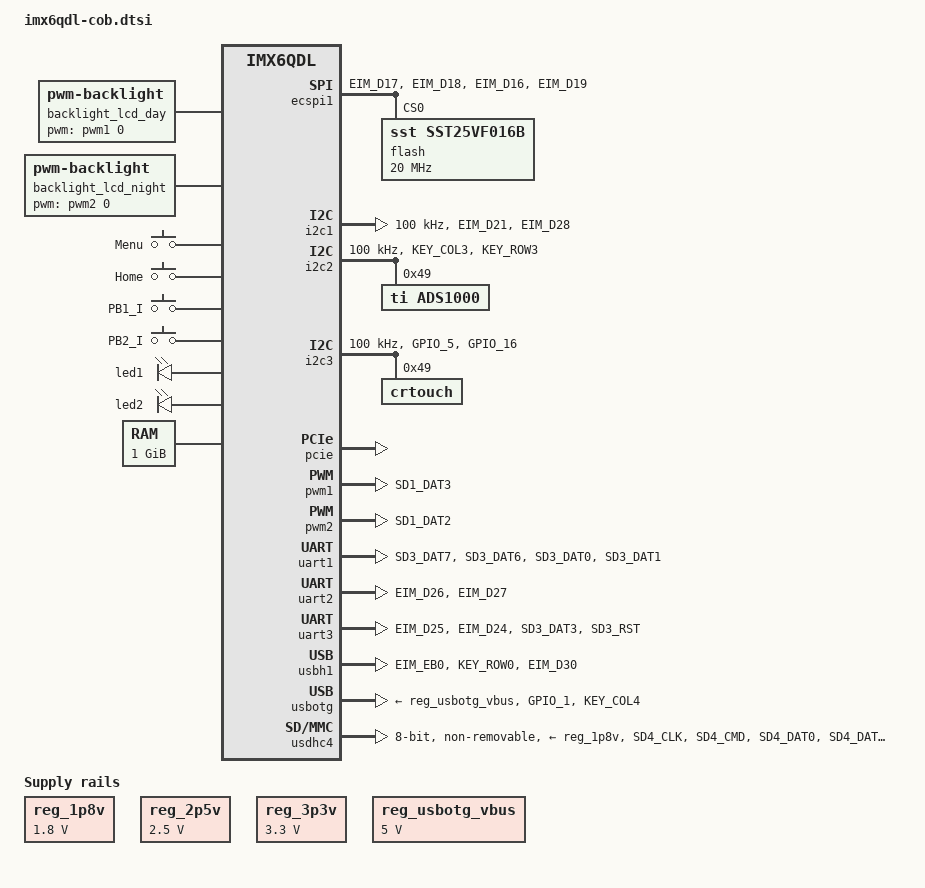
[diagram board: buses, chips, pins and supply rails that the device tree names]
/*
 * Copyright 2015 Boundary Devices
 *
 * The code contained herein is licensed under the GNU General Public
 * License. You may obtain a copy of the GNU General Public License
 * Version 2 or later at the following locations:
 *
 * http://www.opensource.org/licenses/gpl-license.html
 * http://www.gnu.org/copyleft/gpl.html
 */
#include <dt-bindings/gpio/gpio.h>
#include <dt-bindings/input/input.h>

&iomuxc {
	pinctrl-names = "default";
	pinctrl-0 = <&pinctrl_hog>;

        iomuxc_imx6q_cob: iomuxc-imx6q-cobgrp {
                status = "okay";
        };
};

&iomuxc_imx6q_cob {
	pinctrl_ecspi1: ecspi1grp {
		fsl,pins = <
			MX6QDL_PAD_EIM_D17__ECSPI1_MISO		0x100b1
			MX6QDL_PAD_EIM_D18__ECSPI1_MOSI		0x100b1
			MX6QDL_PAD_EIM_D16__ECSPI1_SCLK		0x100b1
#define GP_ECSPI1_NOR_CS	<&gpio3 19 GPIO_ACTIVE_LOW>
			MX6QDL_PAD_EIM_D19__GPIO3_IO19		0x000b1
		>;
	};

	pinctrl_gpio_keys: gpio-keysgrp {
		fsl,pins = <
#define GP_GPIOKEYS_MENU	<&gpio1 0 GPIO_ACTIVE_LOW>
			MX6QDL_PAD_GPIO_0__GPIO1_IO00		0x1b0b0
#define GP_GPIOKEYS_HOME	<&gpio1 2 GPIO_ACTIVE_LOW>
			MX6QDL_PAD_GPIO_2__GPIO1_IO02		0x1b0b0
#define GP_GPIOKEYS_PB1_I	<&gpio1 8 GPIO_ACTIVE_LOW>
			MX6QDL_PAD_GPIO_8__GPIO1_IO08		0x1b0b0
#define GP_GPIOKEYS_PB2_I	<&gpio7 12 GPIO_ACTIVE_LOW>
			MX6QDL_PAD_GPIO_17__GPIO7_IO12		0x1b0b0
		>;
	};

	pinctrl_gpio_leds: gpio-ledsgrp {
		fsl,pins = <
#define GP_GPIOLEDS_1		<&gpio2 19 GPIO_ACTIVE_LOW>
			MX6QDL_PAD_EIM_A19__GPIO2_IO19		0x0b0b0
#define GP_GPIOLEDS_2		<&gpio2 18 GPIO_ACTIVE_LOW>
			MX6QDL_PAD_EIM_A20__GPIO2_IO18		0x0b0b0
		>;
	};

	pinctrl_hog: hoggrp {
		fsl,pins = <
#define GP_HEATER_EN	<&gpio4 10 GPIO_ACTIVE_LOW>
			MX6QDL_PAD_KEY_COL2__GPIO4_IO10		0x0b0b0
#define GP_LCD_DAY_BACKLIGHT_EN	<&gpio4 15 GPIO_ACTIVE_LOW>
			MX6QDL_PAD_KEY_ROW4__GPIO4_IO15		0x0b0b0
#define GP_LCD_NIGHT_BACKLIGHT_EN <&gpio4 11 GPIO_ACTIVE_LOW>
			MX6QDL_PAD_KEY_ROW2__GPIO4_IO11		0x0b0b0

#define GP_TX		<&gpio2 30 GPIO_ACTIVE_LOW>
			MX6QDL_PAD_EIM_EB2__GPIO2_IO30		0x1b0b0
#define GP_RX		<&gpio2 31 GPIO_ACTIVE_LOW>
			MX6QDL_PAD_EIM_EB3__GPIO2_IO31		0x1b0b0

#define GP_HEATER_FAULT	<&gpio5 0 GPIO_ACTIVE_LOW>
			MX6QDL_PAD_EIM_WAIT__GPIO5_IO00		0x1b0b0

#define GP_DA1_OUTA	<&gpio3 0 GPIO_ACTIVE_LOW>
			MX6QDL_PAD_EIM_DA0__GPIO3_IO00		0x1b0b0
#define GP_DA1_OUTB	<&gpio3 1 GPIO_ACTIVE_LOW>
			MX6QDL_PAD_EIM_DA1__GPIO3_IO01		0x1b0b0
#define GP_DB1_OUTA	<&gpio3 2 GPIO_ACTIVE_LOW>
			MX6QDL_PAD_EIM_DA2__GPIO3_IO02		0x1b0b0
#define GP_DB1_OUTB	<&gpio3 3 GPIO_ACTIVE_LOW>
			MX6QDL_PAD_EIM_DA3__GPIO3_IO03		0x1b0b0
#define GP_DA2_OUTA	<&gpio3 4 GPIO_ACTIVE_LOW>
			MX6QDL_PAD_EIM_DA4__GPIO3_IO04		0x1b0b0
#define GP_DA2_OUTB	<&gpio3 5 GPIO_ACTIVE_LOW>
			MX6QDL_PAD_EIM_DA5__GPIO3_IO05		0x1b0b0
#define GP_DB2_OUTA	<&gpio3 6 GPIO_ACTIVE_LOW>
			MX6QDL_PAD_EIM_DA6__GPIO3_IO06		0x1b0b0
#define GP_DB2_OUTB	<&gpio3 7 GPIO_ACTIVE_LOW>
			MX6QDL_PAD_EIM_DA7__GPIO3_IO07		0x1b0b0

#define GP_HOG_TP5	<&gpio4 8 GPIO_ACTIVE_LOW>
			MX6QDL_PAD_KEY_COL1__GPIO4_IO08		0x1b0b0
#define GP_HOG_TP6	<&gpio4 9 GPIO_ACTIVE_LOW>
			MX6QDL_PAD_KEY_ROW1__GPIO4_IO09		0x1b0b0
#define GP_HOG_TP71	<&gpio1 30 GPIO_ACTIVE_LOW>
			MX6QDL_PAD_ENET_TXD0__GPIO1_IO30	0x1b0b0
#define GP_HOG_TP72	<&gpio4 6 GPIO_ACTIVE_LOW>
			MX6QDL_PAD_KEY_COL0__GPIO4_IO06		0x1b0b0
#define GP_HOG_TP74	<&gpio2 7 GPIO_ACTIVE_LOW>
			MX6QDL_PAD_NANDF_D7__GPIO2_IO07		0x130b0
#define GP_HOG_TP75	<&gpio1 11 GPIO_ACTIVE_LOW>
			MX6QDL_PAD_SD2_CMD__GPIO1_IO11		0x1b0b0
#define GP_HOG_TP76	<&gpio1 10 GPIO_ACTIVE_LOW>
			MX6QDL_PAD_SD2_CLK__GPIO1_IO10		0x1b0b0
#define GP_HOG_TP78	<&gpio1 7 GPIO_ACTIVE_LOW>
			MX6QDL_PAD_GPIO_7__GPIO1_IO07		0x1b0b0
#define GP_HOG_TP79	<&gpio1 4 GPIO_ACTIVE_LOW>
			MX6QDL_PAD_GPIO_4__GPIO1_IO04		0x1b0b0
		>;
	};

	pinctrl_i2c1: i2c1grp {
		fsl,pins = <
			MX6QDL_PAD_EIM_D21__I2C1_SCL		0x4001b8b1
			MX6QDL_PAD_EIM_D28__I2C1_SDA		0x4001b8b1
		>;
	};

	pinctrl_i2c1_1: i2c1_1grp {
		fsl,pins = <
#define GP_I2C1_SCL	<&gpio3 21 GPIO_ACTIVE_HIGH>
			MX6QDL_PAD_EIM_D21__GPIO3_IO21		0x4001b8b1
#define GP_I2C1_SDA	<&gpio3 28 GPIO_ACTIVE_HIGH>
			MX6QDL_PAD_EIM_D28__GPIO3_IO28		0x4001b8b1
		>;
	};

	pinctrl_i2c2: i2c2grp {
		fsl,pins = <
			MX6QDL_PAD_KEY_COL3__I2C2_SCL		0x4001b8b1
			MX6QDL_PAD_KEY_ROW3__I2C2_SDA		0x4001b8b1
		>;
	};

	pinctrl_i2c2_1: i2c2_1grp {
		fsl,pins = <
#define GP_I2C2_SCL	<&gpio4 12 GPIO_ACTIVE_HIGH>
			MX6QDL_PAD_KEY_COL3__GPIO4_IO12		0x4001b8b1
#define GP_I2C2_SDA	<&gpio4 13 GPIO_ACTIVE_HIGH>
			MX6QDL_PAD_KEY_ROW3__GPIO4_IO13		0x4001b8b1
		>;
	};

	pinctrl_i2c3: i2c3grp {
		fsl,pins = <
			MX6QDL_PAD_GPIO_5__I2C3_SCL		0x4001b8b1
			MX6QDL_PAD_GPIO_16__I2C3_SDA		0x4001b8b1
		>;
	};

	pinctrl_i2c3_1: i2c3_1grp {
		fsl,pins = <
#define GP_I2C3_SCL	<&gpio1 5 GPIO_ACTIVE_HIGH>
			MX6QDL_PAD_GPIO_5__GPIO1_IO05		0x4001b8b1
#define GP_I2C3_SDA	<&gpio7 11 GPIO_ACTIVE_HIGH>
			MX6QDL_PAD_GPIO_16__GPIO7_IO11		0x4001b8b1
		>;
	};

	pinctrl_i2c3_crtouch: i2c3-crtouchgrp {
		fsl,pins = <
#define GPIRQ_I2C3_CRTOUCH	<&gpio1 9 IRQ_TYPE_EDGE_FALLING>
#define GP_I2C3_CRTOUCH		<&gpio1 9 GPIO_ACTIVE_LOW>
			MX6QDL_PAD_GPIO_9__GPIO1_IO09		0x1b0b0

#define GP_I2C3_CRTOUCH_WAKE	<&gpio2 27 GPIO_ACTIVE_LOW>
			MX6QDL_PAD_EIM_LBA__GPIO2_IO27		0x1b0b0
#define GP_I2C3_CRTOUCH_RESET	<&gpio2 26 GPIO_ACTIVE_LOW>
			MX6QDL_PAD_EIM_RW__GPIO2_IO26		0x130b0

		>;
	};

	pinctrl_lcd0: lcd0grp {
		fsl,pins = <
			MX6QDL_PAD_DI0_DISP_CLK__IPU1_DI0_DISP_CLK	0x10
			MX6QDL_PAD_DI0_PIN2__IPU1_DI0_PIN02		0x10
			MX6QDL_PAD_DI0_PIN3__IPU1_DI0_PIN03		0x10
			MX6QDL_PAD_DI0_PIN15__IPU1_DI0_PIN15		0x10
			MX6QDL_PAD_DISP0_DAT0__IPU1_DISP0_DATA00	0x10
			MX6QDL_PAD_DISP0_DAT1__IPU1_DISP0_DATA01	0x10
			MX6QDL_PAD_DISP0_DAT2__IPU1_DISP0_DATA02	0x10
			MX6QDL_PAD_DISP0_DAT3__IPU1_DISP0_DATA03	0x10
			MX6QDL_PAD_DISP0_DAT4__IPU1_DISP0_DATA04	0x10
			MX6QDL_PAD_DISP0_DAT5__IPU1_DISP0_DATA05	0x10
			MX6QDL_PAD_DISP0_DAT6__IPU1_DISP0_DATA06	0x10
			MX6QDL_PAD_DISP0_DAT7__IPU1_DISP0_DATA07	0x10
			MX6QDL_PAD_DISP0_DAT8__IPU1_DISP0_DATA08	0x10
			MX6QDL_PAD_DISP0_DAT9__IPU1_DISP0_DATA09	0x10
			MX6QDL_PAD_DISP0_DAT10__IPU1_DISP0_DATA10	0x10
			MX6QDL_PAD_DISP0_DAT11__IPU1_DISP0_DATA11	0x10
			MX6QDL_PAD_DISP0_DAT12__IPU1_DISP0_DATA12	0x10
			MX6QDL_PAD_DISP0_DAT13__IPU1_DISP0_DATA13	0x10
			MX6QDL_PAD_DISP0_DAT14__IPU1_DISP0_DATA14	0x10
			MX6QDL_PAD_DISP0_DAT15__IPU1_DISP0_DATA15	0x10
			MX6QDL_PAD_DISP0_DAT16__IPU1_DISP0_DATA16	0x10
			MX6QDL_PAD_DISP0_DAT17__IPU1_DISP0_DATA17	0x10
			MX6QDL_PAD_DISP0_DAT18__IPU1_DISP0_DATA18	0x10
			MX6QDL_PAD_DISP0_DAT19__IPU1_DISP0_DATA19	0x10
			MX6QDL_PAD_DISP0_DAT20__IPU1_DISP0_DATA20	0x10
			MX6QDL_PAD_DISP0_DAT21__IPU1_DISP0_DATA21	0x10
			MX6QDL_PAD_DISP0_DAT22__IPU1_DISP0_DATA22	0x10
			MX6QDL_PAD_DISP0_DAT23__IPU1_DISP0_DATA23	0x10
		>;
	};

	pinctrl_pwm1: pwm1grp {
		fsl,pins = <
			MX6QDL_PAD_SD1_DAT3__PWM1_OUT		0x1b0b1
		>;
	};

	pinctrl_pwm2: pwm2grp {
		fsl,pins = <
			MX6QDL_PAD_SD1_DAT2__PWM2_OUT		0x1b0b1
		>;
	};

	pinctrl_reg_usbotg_vbus: reg-usbotg-vbusgrp {
		fsl,pins = <
#define GP_REG_USBOTG	<&gpio3 22 GPIO_ACTIVE_HIGH>
			MX6QDL_PAD_EIM_D22__GPIO3_IO22		0x030b0
		>;
	};

	pinctrl_uart1: uart1grp {
		fsl,pins = <
			MX6QDL_PAD_SD3_DAT7__UART1_TX_DATA	0x1b0b1
			MX6QDL_PAD_SD3_DAT6__UART1_RX_DATA	0x1b0b1
			MX6QDL_PAD_SD3_DAT0__UART1_CTS_B	0x1b0b1
			MX6QDL_PAD_SD3_DAT1__UART1_RTS_B	0x1b0b1
		>;
	};

	pinctrl_uart2: uart2grp {
		fsl,pins = <
			MX6QDL_PAD_EIM_D26__UART2_TX_DATA	0x1b0b1
			MX6QDL_PAD_EIM_D27__UART2_RX_DATA	0x1b0b1
		>;
	};

	pinctrl_uart3: uart3grp {
		fsl,pins = <
			MX6QDL_PAD_EIM_D25__UART3_RX_DATA	0x1b0b1
			MX6QDL_PAD_EIM_D24__UART3_TX_DATA	0x1b0b1
			MX6QDL_PAD_SD3_DAT3__UART3_CTS_B	0x1b0b1
			MX6QDL_PAD_SD3_RST__UART3_RTS_B		0x1b0b1
		>;
	};

	pinctrl_usbh1: usbh1grp {
		fsl,pins = <
#define GP_USBH1_SOURCE	<&gpio2 28 GPIO_ACTIVE_LOW>
			MX6QDL_PAD_EIM_EB0__GPIO2_IO28		0x030b0
#define GP_USBH1_FP_OC	<&gpio4 7 GPIO_ACTIVE_LOW>
			MX6QDL_PAD_KEY_ROW0__GPIO4_IO07		0x1b0b0
			MX6QDL_PAD_EIM_D30__USB_H1_OC		0x1b0b0
		>;
	};

	pinctrl_usbotg: usbotggrp {
		fsl,pins = <
			MX6QDL_PAD_GPIO_1__USB_OTG_ID		0x17059
			MX6QDL_PAD_KEY_COL4__USB_OTG_OC		0x17059
		>;
	};

	pinctrl_usdhc4: usdhc4grp {
		fsl,pins = <
			MX6QDL_PAD_SD4_CLK__SD4_CLK		0x10059
			MX6QDL_PAD_SD4_CMD__SD4_CMD		0x17059
			MX6QDL_PAD_SD4_DAT0__SD4_DATA0		0x17059
			MX6QDL_PAD_SD4_DAT1__SD4_DATA1		0x17059
			MX6QDL_PAD_SD4_DAT2__SD4_DATA2		0x17059
			MX6QDL_PAD_SD4_DAT3__SD4_DATA3		0x17059
			MX6QDL_PAD_SD4_DAT4__SD4_DATA4		0x17059
			MX6QDL_PAD_SD4_DAT5__SD4_DATA5		0x17059
			MX6QDL_PAD_SD4_DAT6__SD4_DATA6		0x17059
			MX6QDL_PAD_SD4_DAT7__SD4_DATA7		0x17059
#define GP_EMMC_RESET	<&gpio2 6 GPIO_ACTIVE_LOW>
			MX6QDL_PAD_NANDF_D6__GPIO2_IO06		0x0b0b0
		>;
	};
};

/ {
	aliases {
		backlight_lcd = &backlight_lcd_day;
		fb_lcd = &fb_lcd;
		lcd = &lcd;
		mmc0 = &usdhc4;
		mxcfb0 = &fb_lcd;
		pwm_lcd = &pwm1;
	};

	backlight_lcd_day: backlight_lcd_day {
		brightness-levels = <0 1 2 3 4 5 6 7 8 9 10>;
		default-brightness-level = <5>;
		compatible = "pwm-backlight";
		display = <&fb_lcd>;
		pwms = <&pwm1 0 3333333>;
	};

	backlight_lcd_night {
		brightness-levels = <0 1 2 3 4 5 6 7 8 9 10>;
		default-brightness-level = <0>;
		compatible = "pwm-backlight";
		display = <&fb_lcd>;
		pwms = <&pwm2 0 3333333>;
	};

	gpio-keys {
		compatible = "gpio-keys";
		pinctrl-names = "default";
		pinctrl-0 = <&pinctrl_gpio_keys>;
		menu {
			label = "Menu";
			gpios = GP_GPIOKEYS_MENU;
			linux,code = <KEY_MENU>;
		};

		home {
			label = "Home";
			gpios = GP_GPIOKEYS_HOME;
			linux,code = <KEY_HOMEPAGE>;
		};

		pb1 {
			label = "PB1_I";
			gpios = GP_GPIOKEYS_PB1_I;
			linux,code = <KEY_VOLUMEUP>;
		};

		pb2 {
			label = "PB2_I";
			gpios = GP_GPIOKEYS_PB2_I;
			linux,code = <KEY_VOLUMEDOWN>;
		};
	};

	gpio_leds: leds {
		compatible = "gpio-leds";
		pinctrl-names = "default";
		pinctrl-0 = <&pinctrl_gpio_leds>;
		led1 {
			gpios = GP_GPIOLEDS_1;
			retain-state-suspended;
			default-state = "off";
		};
		led2 {
			gpios = GP_GPIOLEDS_2;
			retain-state-suspended;
			default-state = "off";
		};
	};

	fb_lcd: fb@0 {
		compatible = "fsl,mxc_sdc_fb";
		disp_dev = "lcd";
		interface_pix_fmt = "RGB24";
		mode_str ="DC050WX";
		default_bpp = <16>;
		int_clk = <0>;
		late_init = <0>;
		status = "disabled";
	};

	lcd: lcd@0 {
		compatible = "fsl,lcd";
		ipu_id = <0>;
		disp_id = <0>;
		default_ifmt = "RGB24";
		pinctrl-names = "default";
		pinctrl-0 = <&pinctrl_lcd0>;
		status = "okay";
	};

	memory {
		reg = <0x10000000 0x40000000>;
	};

	regulators {
		compatible = "simple-bus";
		#address-cells = <1>;
		#size-cells = <0>;

		reg_1p8v: regulator@0 {
			compatible = "regulator-fixed";
			reg = <0>;
			regulator-name = "1P8V";
			regulator-min-microvolt = <1800000>;
			regulator-max-microvolt = <1800000>;
			regulator-always-on;
		};

		reg_2p5v: regulator@1 {
			compatible = "regulator-fixed";
			reg = <1>;
			regulator-name = "2P5V";
			regulator-min-microvolt = <2500000>;
			regulator-max-microvolt = <2500000>;
			regulator-always-on;
		};

		reg_3p3v: regulator@2 {
			compatible = "regulator-fixed";
			reg = <2>;
			regulator-name = "3P3V";
			regulator-min-microvolt = <3300000>;
			regulator-max-microvolt = <3300000>;
			regulator-always-on;
		};

		reg_usbotg_vbus: regulator@3 {
			compatible = "regulator-fixed";
			reg = <3>;
			pinctrl-names = "default";
			pinctrl-0 = <&pinctrl_reg_usbotg_vbus>;
			regulator-name = "usb_otg_vbus";
			regulator-min-microvolt = <5000000>;
			regulator-max-microvolt = <5000000>;
			gpio = GP_REG_USBOTG;
			enable-active-high;
		};
	};

	v4l2_out {
		compatible = "fsl,mxc_v4l2_output";
		status = "okay";
	};
};

&ecspi1 {
	pinctrl-names = "default";
	pinctrl-0 = <&pinctrl_ecspi1>;
	fsl,spi-num-chipselects = <1>;
	cs-gpios = GP_ECSPI1_NOR_CS;
	status = "okay";

	flash: m25p80@0 {
		compatible = "sst,sst25vf016b";
		spi-max-frequency = <20000000>;
		reg = <0>;
		#address-cells = <1>;
		#size-cells = <1>;
		mtd@00000000 {
			label = "U-Boot";
			reg = <0x0 0xC0000>;
		};

		mtd@000C0000 {
			label = "env";
			reg = <0xC0000 0x2000>;
		};
		mtd@000C2000 {
			label = "splash";
			reg = <0xC2000 0x13e000>;
		};
	};
};

&i2c1 {
	clock-frequency = <100000>;
	pinctrl-names = "default", "gpio";
	pinctrl-0 = <&pinctrl_i2c1>;
	pinctrl-1 = <&pinctrl_i2c1_1>;
	scl-gpios = GP_I2C1_SCL;
	sda-gpios = GP_I2C1_SDA;
	status = "okay";
};


&i2c2 {
	clock-frequency = <100000>;
	pinctrl-names = "default", "gpio";
	pinctrl-0 = <&pinctrl_i2c2>;
	pinctrl-1 = <&pinctrl_i2c2_1>;
	scl-gpios = GP_I2C2_SCL;
	sda-gpios = GP_I2C2_SDA;
	status = "okay";

	ads1000@49 {
		compatible = "ti,ads1000";
		reg = <0x49>;
	};
};

&i2c3 {
	clock-frequency = <100000>;
	pinctrl-names = "default", "gpio";
	pinctrl-0 = <&pinctrl_i2c3>;
	pinctrl-1 = <&pinctrl_i2c3_1>;
	scl-gpios = GP_I2C3_SCL;
	sda-gpios = GP_I2C3_SDA;
	status = "okay";

        crtouch@49 {
		compatible = "crtouch";
		pinctrl-names = "default";
		pinctrl-0 = <&pinctrl_i2c3_crtouch>;
		reg = <0x49>;
#if 0
		interrupts-extended = GPIRQ_I2C3_CRTOUCH;
		wakeup-gpios = GP_I2C3_CRTOUCH;
#endif
		reset-gpios = GP_I2C3_CRTOUCH_RESET;
		wake-gpios = GP_I2C3_CRTOUCH_WAKE;
	};
};

&pcie {
	status = "okay";
};

&pwm1 {
	pinctrl-names = "default";
	pinctrl-0 = <&pinctrl_pwm1>;
	status = "okay";
};

&pwm2 {
	pinctrl-names = "default";
	pinctrl-0 = <&pinctrl_pwm2>;
	status = "okay";
};

&uart1 {
	pinctrl-names = "default";
	pinctrl-0 = <&pinctrl_uart1>;
	uart-has-rtscts;
	status = "okay";
};

&uart2 {
	pinctrl-names = "default";
	pinctrl-0 = <&pinctrl_uart2>;
	status = "okay";
};

&uart3 {
	pinctrl-names = "default";
	pinctrl-0 = <&pinctrl_uart3>;
	uart-has-rtscts;
	status = "okay";
};

&usbh1 {
	pinctrl-names = "default";
	pinctrl-0 = <&pinctrl_usbh1>;
	reset-gpios = GP_USBH1_SOURCE;
	status = "okay";
};

&usbotg {
	vbus-supply = <&reg_usbotg_vbus>;
	pinctrl-names = "default";
	pinctrl-0 = <&pinctrl_usbotg>;
	status = "okay";
};

&usdhc4 {
	pinctrl-names = "default";
	pinctrl-0 = <&pinctrl_usdhc4>;
	bus-width = <8>;
	non-removable;
	vqmmc-1-8-v;
	vmmc-supply = <&reg_1p8v>;
	keep-power-in-suspend;
	status = "okay";
};
